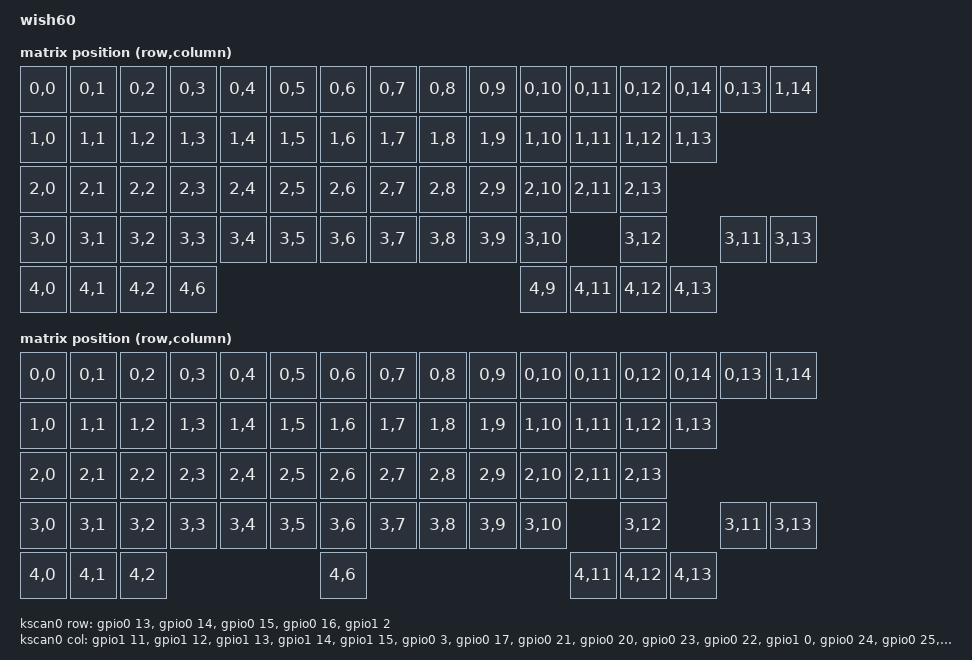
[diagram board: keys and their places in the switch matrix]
/*
 * Copyright (c) 2021 Nick Winans
 *
 * SPDX-License-Identifier: MIT
 */

/dts-v1/;
#include <nordic/nrf52840_qiaa.dtsi>

#include <dt-bindings/led/led.h>
#include <dt-bindings/zmk/matrix_transform.h>
#include "wish60-pinctrl.dtsi"
#include "wish60-layouts.dtsi"




/ {
    model = "wish60";
    compatible = "wish60";

    chosen {
        zephyr,code-partition = &code_partition;
        zephyr,sram = &sram0;
        zephyr,flash = &flash0;
        // zmk,battery = &vbatt;
        zmk,battery = &builtin_fuel_gauge;
        zmk,kscan = &kscan0;
        // zmk,matrix-transform = &default_transform;
        zmk,physical-layout = &layout_0;
        zmk,underglow = &led_strip;
    };

    layout_6_25u_transform: keymap_transform_0 {
        compatible = "zmk,matrix-transform";
        columns = <15>;
        rows = <5>;
        map = <
                RC(0,0) RC(0,1) RC(0,2) RC(0,3) RC(0,4) RC(0,5) RC(0,6) RC(0,7) RC(0,8) RC(0,9) RC(0,10) RC(0,11) RC(0,12)          RC(0,14)  RC(0,13) RC(1,14)
                RC(1,0) RC(1,1) RC(1,2) RC(1,3) RC(1,4) RC(1,5) RC(1,6) RC(1,7) RC(1,8) RC(1,9) RC(1,10) RC(1,11) RC(1,12) RC(1,13)
                RC(2,0) RC(2,1) RC(2,2) RC(2,3) RC(2,4) RC(2,5) RC(2,6) RC(2,7) RC(2,8) RC(2,9) RC(2,10) RC(2,11)          RC(2,13)
                RC(3,0) RC(3,1) RC(3,2) RC(3,3) RC(3,4) RC(3,5) RC(3,6) RC(3,7) RC(3,8) RC(3,9) RC(3,10)          RC(3,12)                    RC(3,11) RC(3,13)
                RC(4,0) RC(4,1) RC(4,2)                         RC(4,6)                 RC(4,9)          RC(4,11) RC(4,12) RC(4,13)
        >;
    };

    layout_7u_transform: keymap_transform_1 {
        compatible = "zmk,matrix-transform";
        columns = <15>;
        rows = <5>;
        map = <
                RC(0,0) RC(0,1) RC(0,2) RC(0,3) RC(0,4) RC(0,5) RC(0,6) RC(0,7) RC(0,8) RC(0,9) RC(0,10) RC(0,11) RC(0,12)          RC(0,14)  RC(0,13) RC(1,14)
                RC(1,0) RC(1,1) RC(1,2) RC(1,3) RC(1,4) RC(1,5) RC(1,6) RC(1,7) RC(1,8) RC(1,9) RC(1,10) RC(1,11) RC(1,12) RC(1,13)
                RC(2,0) RC(2,1) RC(2,2) RC(2,3) RC(2,4) RC(2,5) RC(2,6) RC(2,7) RC(2,8) RC(2,9) RC(2,10) RC(2,11)          RC(2,13)
                RC(3,0) RC(3,1) RC(3,2) RC(3,3) RC(3,4) RC(3,5) RC(3,6) RC(3,7) RC(3,8) RC(3,9) RC(3,10)          RC(3,12)                    RC(3,11) RC(3,13)
                RC(4,0) RC(4,1) RC(4,2)                         RC(4,6)                                  RC(4,11) RC(4,12) RC(4,13)
        >;
    };

    soft_off_wakers {
      compatible = "zmk,soft-off-wakeup-sources";
      wakeup-sources = <&kscan0>;
    };

    kscan0: kscan {
        compatible = "zmk,kscan-gpio-matrix";
        wakeup-source;

        diode-direction = "row2col";
        col-gpios
            = <&gpio1 11 (GPIO_ACTIVE_HIGH | GPIO_PULL_DOWN)>
            , <&gpio1 12 (GPIO_ACTIVE_HIGH | GPIO_PULL_DOWN)>
            , <&gpio1 13 (GPIO_ACTIVE_HIGH | GPIO_PULL_DOWN)>
            , <&gpio1 14 (GPIO_ACTIVE_HIGH | GPIO_PULL_DOWN)>
            , <&gpio1 15 (GPIO_ACTIVE_HIGH | GPIO_PULL_DOWN)>
            , <&gpio0  3 (GPIO_ACTIVE_HIGH | GPIO_PULL_DOWN)>
            , <&gpio0 17 (GPIO_ACTIVE_HIGH | GPIO_PULL_DOWN)>
            , <&gpio0 21 (GPIO_ACTIVE_HIGH | GPIO_PULL_DOWN)>
            , <&gpio0 20 (GPIO_ACTIVE_HIGH | GPIO_PULL_DOWN)>
            , <&gpio0 23 (GPIO_ACTIVE_HIGH | GPIO_PULL_DOWN)>
            , <&gpio0 22 (GPIO_ACTIVE_HIGH | GPIO_PULL_DOWN)>
            , <&gpio1  0 (GPIO_ACTIVE_HIGH | GPIO_PULL_DOWN)>
            , <&gpio0 24 (GPIO_ACTIVE_HIGH | GPIO_PULL_DOWN)>
            , <&gpio0 25 (GPIO_ACTIVE_HIGH | GPIO_PULL_DOWN)>
            , <&gpio1 10 (GPIO_ACTIVE_HIGH | GPIO_PULL_DOWN)>
            ;
        row-gpios
            = <&gpio0 13 GPIO_ACTIVE_HIGH>
            , <&gpio0 14 GPIO_ACTIVE_HIGH>
            , <&gpio0 15 GPIO_ACTIVE_HIGH>
            , <&gpio0 16 GPIO_ACTIVE_HIGH>
            , <&gpio1 2  GPIO_ACTIVE_HIGH>
            ;
    };

    leds {
        compatible = "gpio-leds";
        blue_led: led_0 {
            gpios = <&gpio0 31 GPIO_ACTIVE_HIGH>;
        };
    };

    // Node name must match original "EXT_POWER" label to preserve user settings.
    EXT_POWER {
        compatible = "zmk,ext-power-generic";
        control-gpios = <&gpio0 30 GPIO_ACTIVE_HIGH>;
    };

    vbatt: vbatt {
      compatible = "zmk,battery-nrf-vddh";
    };    
};

&layout_0 {
  transform = <&layout_6_25u_transform>;
};

&layout_1 {
  transform = <&layout_7u_transform>;
};

&adc {
    status = "okay";
};

&gpiote {
    status = "okay";
};

&gpio0 {
    status = "okay";
};

&gpio1 {
    status = "okay";
};

&spi3 {
    compatible = "nordic,nrf-spim";

    pinctrl-0 = <&spi3_default>;
    pinctrl-1 = <&spi3_sleep>;
    pinctrl-names = "default", "sleep";
    status = "okay";

    led_strip: ws2812@0 {
        compatible = "worldsemi,ws2812-spi";

        /* SPI */
        reg = <0>; /* ignored, but necessary for SPI bindings */
        spi-max-frequency = <4000000>;

        /* WS2812 */
        chain-length = <16>; /* LED strip l/ength */
        spi-one-frame = <0x70>;
        spi-zero-frame = <0x40>;
        color-mapping = <LED_COLOR_ID_GREEN LED_COLOR_ID_RED LED_COLOR_ID_BLUE>;
    };
};

&i2c1 {
  status = "okay";
  compatible = "nordic,nrf-twi";
  pinctrl-0 = <&i2c1_default>;
  pinctrl-1 = <&i2c1_sleep>;
  pinctrl-names = "default", "sleep";

  builtin_fuel_gauge: max17048@36 {
      compatible = "zmk,maxim-max17048";
      status = "okay";
      reg = <0x36>;
  };
};

zephyr_udc0: &usbd {
    status = "okay";
};

&flash0 {
    /*
    * For more information, see:
    * http://docs.zephyrproject.org/latest/devices/dts/flash_partitions.html
    */
    partitions {
        compatible = "fixed-partitions";
        #address-cells = <1>;
        #size-cells = <1>;

        sd_partition: partition@0 {
            reg = <0x00000000 0x00001000>;
        };

        code_partition: partition@1000 {
            reg = <0x00001000 0x000d3000>;
        };

        /*
        * The flash starting at 0x000d4000 and ending at
        * 0x000f3fff is reserved for use by the application.
        */

        /*
        * Storage partition will be used by FCB/LittleFS/NVS
        * if enabled.
        */
        storage_partition: partition@d4000 {
            reg = <0x000d4000 0x00020000>;
        };

        boot_partition: partition@f4000 {
            reg = <0x000f4000 0x0000c000>;
        };
    };
};
 
